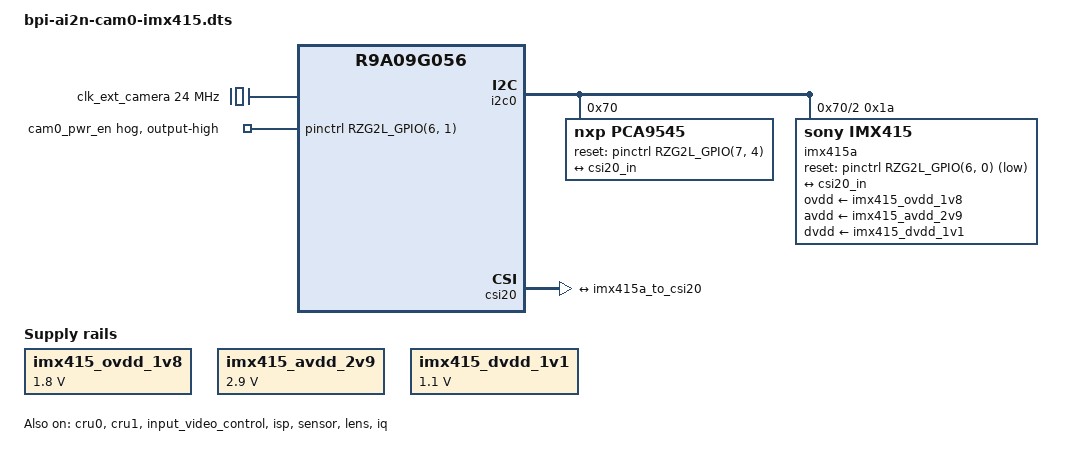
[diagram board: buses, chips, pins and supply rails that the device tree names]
/dts-v1/;
/plugin/;
#include <dt-bindings/interrupt-controller/arm-gic.h>
#include <dt-bindings/pinctrl/rzg2l-pinctrl.h>
#include <dt-bindings/gpio/gpio.h>

/ {
	compatible = "renesas,r9a09g056";

	fragment@0 {
		target-path = "/aliases";
		__overlay__ {
			i2c9 = &i2c_mux0;
			i2c10 = &i2c_mux1;
			i2c11 = &i2c_mux2;
			i2c12 = &i2c_mux3;
		};
	};

	fragment@1 {
		target = <&i2c0>;
		__overlay__ {
			status = "okay";

			pca9545: i2c-mux@70 {
				compatible = "nxp,pca9545";
				reg = <0x70>;
				#address-cells = <1>;
				#size-cells = <0>;
				reset-gpios = <&pinctrl RZG2L_GPIO(7, 4) GPIO_ACTIVE_HIGH>;

				i2c_mux0: i2c@0 {
				    reg = <0>;
				    #address-cells = <1>;
				    #size-cells = <0>;
				};

				i2c_mux1: i2c@1 {
				    reg = <1>;
				    #address-cells = <1>;
				    #size-cells = <0>;
				};

				i2c_mux2: i2c@2 {
				    reg = <2>;
				    #address-cells = <1>;
				    #size-cells = <0>;
				};

				i2c_mux3: i2c@3 {
				    reg = <3>;
				    #address-cells = <1>;
				    #size-cells = <0>;
				};
			};
		};	
	};

	fragment@2 {
		target-path = "/";

		__overlay__ {
			clk_ext_camera: clk_ext_camera {
				compatible = "fixed-clock";
				#clock-cells = <0>;
				clock-frequency = <24000000>;
			};

			imx415_ovdd_1v8: 1p8v {
				compatible = "regulator-fixed";
				regulator-name = "camera_ovdd";
				regulator-min-microvolt = <1800000>;
				regulator-max-microvolt = <1800000>;
				regulator-always-on;
			};

			imx415_avdd_2v9: 2p9v {
				compatible = "regulator-fixed";
				regulator-name = "camera_avdd";
				regulator-min-microvolt = <2900000>;
				regulator-max-microvolt = <2900000>;
				regulator-always-on;
			};

			imx415_dvdd_1v1: 1p1v {
				compatible = "regulator-fixed";
				regulator-name = "camera_dvdd";
				regulator-min-microvolt = <1100000>;
				regulator-max-microvolt = <1100000>;
				regulator-always-on;
			};
		};
	};

	fragment@3 {
		target = <&pinctrl>;
		__overlay__ {
			cam0_pwr_en {
				gpio-hog;
				gpios = <RZG2L_GPIO(6, 1) GPIO_ACTIVE_HIGH>;
				output-high;
				line-name = "cam0_pwr_en";
			};
		};
	};

	fragment@4 {
		target = <&i2c_mux2>;
		__overlay__ {
			status = "okay";

			imx415a: imx415@1a {
				compatible = "sony,imx415";
				reg = <0x1a>;
				clock-names = "inck";
				clocks = <&clk_ext_camera>;
				ovdd-supply = <&imx415_ovdd_1v8>;
				avdd-supply = <&imx415_avdd_2v9>;
				dvdd-supply = <&imx415_dvdd_1v1>;
				reset-gpios = <&pinctrl RZG2L_GPIO(6, 0) GPIO_ACTIVE_LOW>;

				port {
					imx415a_to_csi20: endpoint {
						clock-lanes = <0>;
						data-lanes = <1 2 3 4>;
						link-frequencies = /bits/ 64 <360000000 360000000 360000000 360000000>;
						remote-endpoint = <&csi20_in>;
					};
				};
			};
		};	
	};

	fragment@5 {
		target = <&cru0>;
		__overlay__ {
			status = "okay";

			memory-region = <&cru_func>;
		};
	};

	fragment@6 {
		target = <&csi20>;
		__overlay__ {
			status = "okay";
			ports {
				port@0 {
					reg = <0>;
					csi20_in: endpoint {
						clock-lanes = <0>;
						data-lanes = <1 2 3 4>;
						remote-endpoint = <&imx415a_to_csi20>;
					};
				};
			};
		};
	};

	fragment@7 {
		target = <&cru1>;
		__overlay__ {
			status = "okay";

			memory-region = <&cru_func>;
		};
	};

	fragment@8 {
		target = <&input_video_control>;
		__overlay__ {
			status = "okay";

			crus = <&cru0>;
		};
	};

	fragment@9 {
		target = <&isp>;
		__overlay__ {
			status = "okay";

			sensor-i2c = <&imx415a>;
			sensor-default-preset-mode = <0>;
		};
	};

	fragment@10 {
		target = <&sensor>;
		__overlay__ {
			status = "okay";
		};
	};

	fragment@11 {
		target = <&lens>;
		__overlay__ {
			status = "okay";
		};
	};

	fragment@12 {
		target = <&iq>;
		__overlay__ {
			status = "okay";
		};
	};
};
